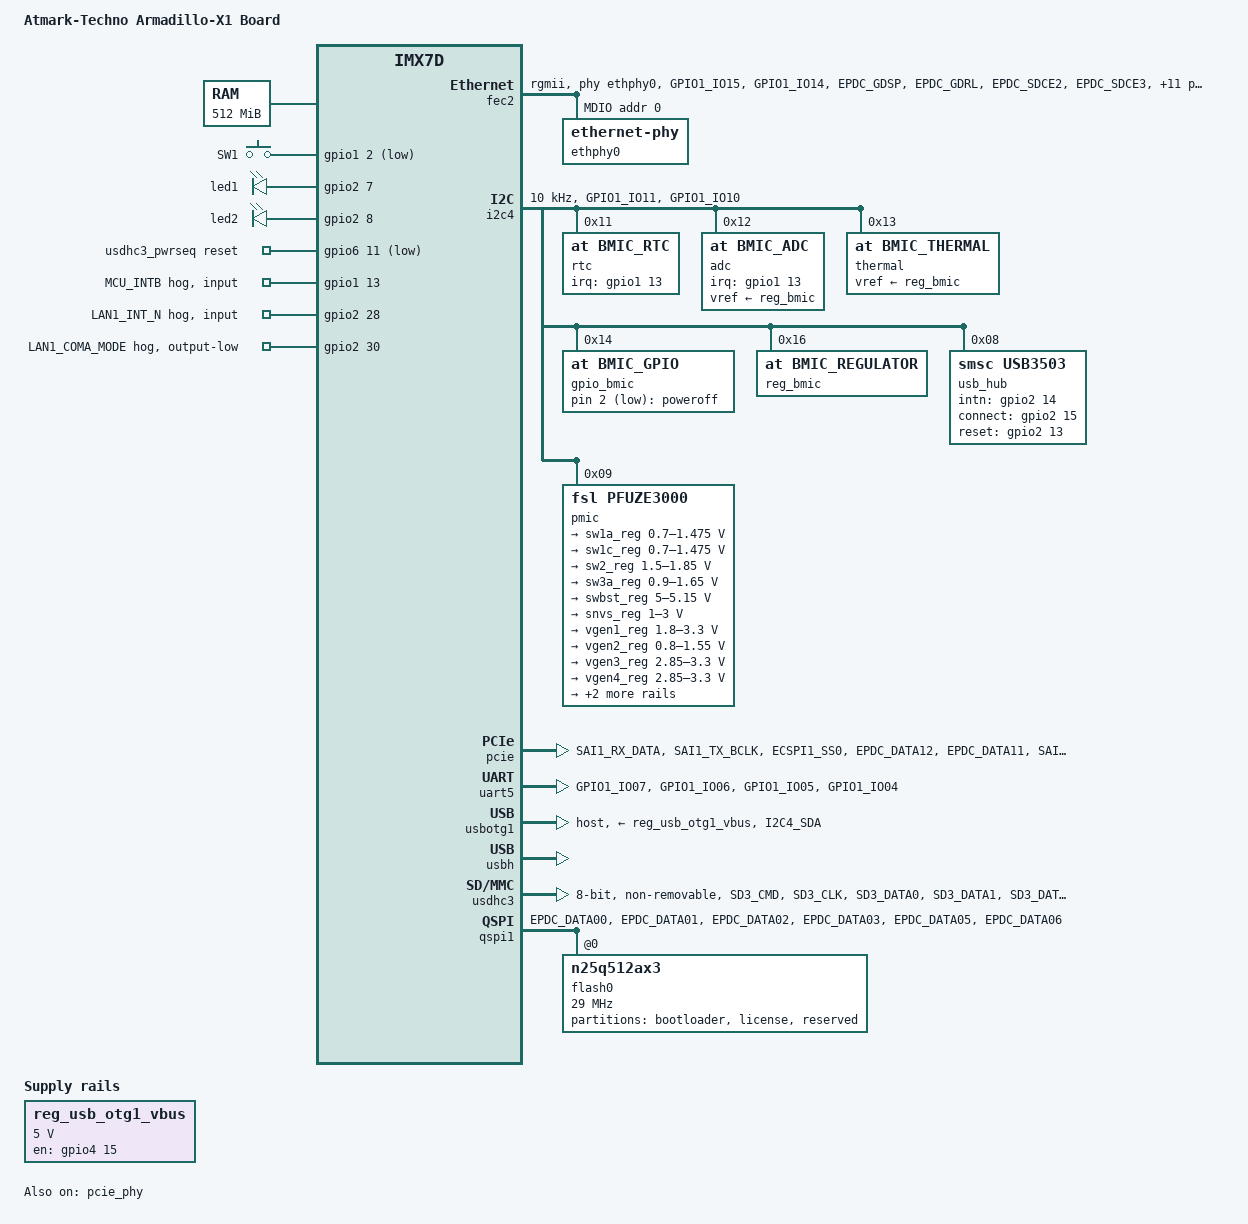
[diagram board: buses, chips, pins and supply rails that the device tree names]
/*
 * Copyright (C) 2018 Atmark Techno, Inc. All Rights Reserved.
 *
 * This file is dual-licensed: you can use it either under the terms
 * of the GPL or the X11 license, at your option. Note that this dual
 * licensing only applies to this file, and not this project as a
 * whole.
 *
 *  a) This file is free software; you can redistribute it and/or
 *     modify it under the terms of the GNU General Public License as
 *     published by the Free Software Foundation; either version 2 of the
 *     License, or (at your option) any later version.
 *
 *     This file is distributed in the hope that it will be useful,
 *     but WITHOUT ANY WARRANTY; without even the implied warranty of
 *     MERCHANTABILITY or FITNESS FOR A PARTICULAR PURPOSE.  See the
 *     GNU General Public License for more details.
 *
 * Or, alternatively,
 *
 *  b) Permission is hereby granted, free of charge, to any person
 *     obtaining a copy of this software and associated documentation
 *     files (the "Software"), to deal in the Software without
 *     restriction, including without limitation the rights to use,
 *     copy, modify, merge, publish, distribute, sublicense, and/or
 *     sell copies of the Software, and to permit persons to whom the
 *     Software is furnished to do so, subject to the following
 *     conditions:
 *
 *     The above copyright notice and this permission notice shall be
 *     included in all copies or substantial portions of the Software.
 *
 *     THE SOFTWARE IS PROVIDED "AS IS", WITHOUT WARRANTY OF ANY KIND,
 *     EXPRESS OR IMPLIED, INCLUDING BUT NOT LIMITED TO THE WARRANTIES
 *     OF MERCHANTABILITY, FITNESS FOR A PARTICULAR PURPOSE AND
 *     NONINFRINGEMENT. IN NO EVENT SHALL THE AUTHORS OR COPYRIGHT
 *     HOLDERS BE LIABLE FOR ANY CLAIM, DAMAGES OR OTHER LIABILITY,
 *     WHETHER IN AN ACTION OF CONTRACT, TORT OR OTHERWISE, ARISING
 *     FROM, OUT OF OR IN CONNECTION WITH THE SOFTWARE OR THE USE OR
 *     OTHER DEALINGS IN THE SOFTWARE.
 */

/dts-v1/;

#include "imx7d.dtsi"
#include "armadillo_x1_addon.dtsi"

/ {
	model = "Atmark-Techno Armadillo-X1 Board";
	compatible = "at,armadillo-x1", "fsl,imx7d";

	memory {
		reg = <0x80000000 0x20000000>;
	};

	regulators: regulators0 {
		compatible = "simple-bus";
		#address-cells = <1>;
		#size-cells = <0>;

		reg_usb_otg1_vbus: regulator@0 {
			compatible = "regulator-fixed";
			reg = <0>;
			regulator-name = "USB_OTG1_VBUS";
			regulator-min-microvolt = <5000000>;
			regulator-max-microvolt = <5000000>;
			gpio = <&gpio4 15 GPIO_ACTIVE_HIGH>;
			enable-active-high;
		};
	};

	gpio-keys {
		compatible = "gpio-keys";
		pinctrl-names = "default";
		pinctrl-0 = <&pinctrl_lpsr_gpio_keys>;

		sw1 {
			label = "SW1";
			gpios = <&gpio1 2 GPIO_ACTIVE_LOW>;
			linux,code = <KEY_1>;
		};
	};

	gpio-leds {
		compatible = "gpio-leds";
		pinctrl-names = "default";
		pinctrl-0 = <&pinctrl_gpio_leds>;

		LED1 {
			label = "led1";
			gpios = <&gpio2 7 GPIO_ACTIVE_HIGH>;
			linux,default-trigger = "default-on";
		};
		LED2 {
			label = "led2";
			gpios = <&gpio2 8 GPIO_ACTIVE_HIGH>;
			linux,default-trigger = "default-on";
		};
	};

	usdhc3_pwrseq: pwrseq@0 {
		compatible = "mmc-pwrseq-emmc";
		pinctrl-names = "default";
		pinctrl-0 = <&pinctrl_usdhc3_pwrseq>;
		reset-gpios = <&gpio6 11 GPIO_ACTIVE_LOW>;
	};

	poweroff {
		compatible = "gpio-poweroff";
		gpios = <&gpio_bmic 2 GPIO_ACTIVE_LOW>;
	};

	bcmdhd-configs {
		ccode = "JP"; /* country code from ISO 3166 */
	};
};

&cpu0 {
	arm-supply = <&sw1a_reg>;
};

&fec2 {
	pinctrl-names = "default";
	pinctrl-0 = <&pinctrl_enet2>;
	assigned-clocks = <&clks IMX7D_ENET2_TIME_ROOT_SRC>,
			  <&clks IMX7D_ENET2_TIME_ROOT_CLK>;
	assigned-clock-parents = <&clks IMX7D_PLL_ENET_MAIN_100M_CLK>;
	assigned-clock-rates = <0>, <100000000>;
	phy-mode = "rgmii";
	phy-handle = <&ethphy0>;
	fsl,magic-packet;
	fsl,mii-exclusive;
	no-mac-init;
	status = "okay";

	mdio {
		#address-cells = <1>;
		#size-cells = <0>;

		ethphy0: ethernet-phy@0 {
			reg = <0>;
		};
	};
};

&i2c4 {
	clock-frequency = <10000>;
	pinctrl-names = "default";
	pinctrl-0 = <&pinctrl_i2c4>;
	status = "okay";

	rtc: bmic_rtc@11 {
		compatible = "at,bmic_rtc";
		reg = <0x11>;
		irq-gpio = <&gpio1 13 GPIO_ACTIVE_HIGH>;
	};

	adc: bmic_adc@12 {
		compatible = "at,bmic_adc";
		reg = <0x12>;
		vref-supply = <&reg_bmic>;
		irq-gpio = <&gpio1 13 GPIO_ACTIVE_HIGH>;
	};

	thermal: bmic_thermal@13 {
		compatible = "at,bmic_thermal";
		reg = <0x13>;
		vref-supply = <&reg_bmic>;
	};

	gpio_bmic: bmic_gpio@14 {
		compatible = "at,bmic_gpio";
		reg = <0x14>;
		gpio-controller;
		#gpio-cells = <2>;
	};

	reg_bmic: bmic_regulator@16 {
		compatible = "at,bmic_regulator";
		reg = <0x16>;
		regulator-name = "BMIC_VREF";
		regulator-min-microvolt = <1710000>;
		regulator-max-microvolt = <3600000>;
		regulator-boot-on;
		regulator-always-on;
	};

	usb_hub: usb3503@08 {
		compatible = "smsc,usb3503";
		reg = <0x08>;

		clocks = <&clks IMX7D_CLKO2_ROOT_PRE_DIV>;
		clock-names = "refclk";

		refclk-frequency = <24000000>;
		intn-gpios = <&gpio2 14 GPIO_ACTIVE_HIGH>;
		connect-gpios = <&gpio2 15 GPIO_ACTIVE_HIGH>;
		reset-gpios = <&gpio2 13 GPIO_ACTIVE_HIGH>;
		initial-mode = <1>;	/* MODE_HUB */
	};

	pmic: pfuze3000@09 {
		compatible = "fsl,pfuze3000";
		reg = <0x09>;

		regulators {
			sw1a_reg: sw1a {
				regulator-min-microvolt = <700000>;
				regulator-max-microvolt = <1475000>;
				regulator-boot-on;
				regulator-always-on;
				regulator-ramp-delay = <6250>;
			};

			/* use sw1c_reg to align with pfuze100/pfuze200 */
			sw1c_reg: sw1b {
				regulator-min-microvolt = <700000>;
				regulator-max-microvolt = <1475000>;
				regulator-boot-on;
				regulator-always-on;
				regulator-ramp-delay = <6250>;
			};

			sw2_reg: sw2 {
				regulator-min-microvolt = <1500000>;
				regulator-max-microvolt = <1850000>;
				regulator-boot-on;
				regulator-always-on;
			};

			sw3a_reg: sw3 {
				regulator-min-microvolt = <900000>;
				regulator-max-microvolt = <1650000>;
				regulator-boot-on;
				regulator-always-on;
			};

			swbst_reg: swbst {
				regulator-min-microvolt = <5000000>;
				regulator-max-microvolt = <5150000>;
			};

			snvs_reg: vsnvs {
				regulator-min-microvolt = <1000000>;
				regulator-max-microvolt = <3000000>;
				regulator-boot-on;
				regulator-always-on;
			};

			vref_reg: vrefddr {
				regulator-boot-on;
				regulator-always-on;
			};

			vgen1_reg: vldo1 {
				regulator-min-microvolt = <1800000>;
				regulator-max-microvolt = <3300000>;
				regulator-always-on;
			};

			vgen2_reg: vldo2 {
				regulator-min-microvolt = <800000>;
				regulator-max-microvolt = <1550000>;
			};

			vgen3_reg: vccsd {
				regulator-min-microvolt = <2850000>;
				regulator-max-microvolt = <3300000>;
				regulator-always-on;
			};

			vgen4_reg: v33 {
				regulator-min-microvolt = <2850000>;
				regulator-max-microvolt = <3300000>;
				regulator-always-on;
			};

			vgen5_reg: vldo3 {
				regulator-min-microvolt = <1800000>;
				regulator-max-microvolt = <3300000>;
				regulator-always-on;
			};

			vgen6_reg: vldo4 {
				regulator-min-microvolt = <1800000>;
				regulator-max-microvolt = <3300000>;
				regulator-always-on;
			};
		};
	};
};

&iomuxc {
	pinctrl-names = "default";
	pinctrl-0 = <&pinctrl_hog>;

	armadillo-iotg-g3 {
		pinctrl_hog: hoggrp {
			fsl,pins = <
				/* USB3503 */
				MX7D_PAD_EPDC_DATA13__GPIO2_IO13	0x00 /* GPIO_USB_HUB_RESET_N */
				MX7D_PAD_EPDC_DATA14__GPIO2_IO14	0x04 /* GPIO_USB_HUB_INT_N */
				MX7D_PAD_EPDC_DATA15__GPIO2_IO15	0x00 /* GPIO_USB_HUB_CON */

				/* MCU */
				MX7D_PAD_GPIO1_IO13__GPIO1_IO13		0x40000000 /* MCU_INTB */
			>;
		};

		pinctrl_enet2: enet2grp {
			fsl,pins = <
				MX7D_PAD_GPIO1_IO15__ENET2_MDC		0x0
				MX7D_PAD_GPIO1_IO14__ENET2_MDIO		0x0

				MX7D_PAD_EPDC_GDSP__ENET2_RGMII_TXC		0x1
				MX7D_PAD_EPDC_GDRL__ENET2_RGMII_TX_CTL		0x1
				MX7D_PAD_EPDC_SDCE2__ENET2_RGMII_TD0		0x1
				MX7D_PAD_EPDC_SDCE3__ENET2_RGMII_TD1		0x1
				MX7D_PAD_EPDC_GDCLK__ENET2_RGMII_TD2		0x1
				MX7D_PAD_EPDC_GDOE__ENET2_RGMII_TD3		0x1

				MX7D_PAD_EPDC_SDCE1__ENET2_RGMII_RXC		0x1
				MX7D_PAD_EPDC_SDCE0__ENET2_RGMII_RX_CTL		0x1
				MX7D_PAD_EPDC_SDCLK__ENET2_RGMII_RD0		0x1
				MX7D_PAD_EPDC_SDLE__ENET2_RGMII_RD1		0x1
				MX7D_PAD_EPDC_SDOE__ENET2_RGMII_RD2		0x1
				MX7D_PAD_EPDC_SDSHR__ENET2_RGMII_RD3		0x1
				MX7D_PAD_EPDC_BDR1__GPIO2_IO29 0x00 /* GPIO_LAN1_RST_N */
				MX7D_PAD_EPDC_BDR0__GPIO2_IO28 0x00 /* GPIO_LAN1_INT_N */
				MX7D_PAD_EPDC_PWR_COM__GPIO2_IO30 0x00 /* GPIO_LAN1_COMA_MODE */
			>;
		};

		pinctrl_usbotg1: usbotg1grp {
			fsl,pins = <
				MX7D_PAD_I2C4_SDA__GPIO4_IO15 0x00
			>;
		};

		pinctrl_usdhc3: usdhc3grp {
			fsl,pins = <
				MX7D_PAD_SD3_CMD__SD3_CMD	0x0a
				MX7D_PAD_SD3_CLK__SD3_CLK	0x0a
				MX7D_PAD_SD3_DATA0__SD3_DATA0	0x0a
				MX7D_PAD_SD3_DATA1__SD3_DATA1	0x0a
				MX7D_PAD_SD3_DATA2__SD3_DATA2	0x0a
				MX7D_PAD_SD3_DATA3__SD3_DATA3	0x0a
				MX7D_PAD_SD3_DATA4__SD3_DATA4	0x0a
				MX7D_PAD_SD3_DATA5__SD3_DATA5	0x0a
				MX7D_PAD_SD3_DATA6__SD3_DATA6	0x0a
				MX7D_PAD_SD3_DATA7__SD3_DATA7	0x0a
				MX7D_PAD_SD3_STROBE__SD3_STROBE	0x0a
			>;
		};

		pinctrl_usdhc3_pwrseq: pwrseq-usdhc3grp {
			fsl,pins = <
				MX7D_PAD_SD3_RESET_B__GPIO6_IO11	0x4000000a
			>;
		};

		pinctrl_qspi1: qspi1grp {
			fsl,pins = <
				MX7D_PAD_EPDC_DATA00__QSPI_A_DATA0	0x51
				MX7D_PAD_EPDC_DATA01__QSPI_A_DATA1	0x51
				MX7D_PAD_EPDC_DATA02__QSPI_A_DATA2	0x51
				MX7D_PAD_EPDC_DATA03__QSPI_A_DATA3	0x51
				MX7D_PAD_EPDC_DATA05__QSPI_A_SCLK	0x51
				MX7D_PAD_EPDC_DATA06__QSPI_A_SS0_B	0x51
			>;
		};

		pinctrl_gpio_leds: gpio_ledsgrp {
			fsl,pins = <
				MX7D_PAD_EPDC_DATA07__GPIO2_IO7	0x00 /* LED1 */
				MX7D_PAD_EPDC_DATA08__GPIO2_IO8	0x00 /* LED2 */
			>;
		};

		pinctrl_i2c4: i2c4grp {
			fsl,pins = <
				MX7D_PAD_GPIO1_IO11__I2C4_SDA	0x4000007f
				MX7D_PAD_GPIO1_IO10__I2C4_SCL	0x4000007f
			>;
		};

		pinctrl_pcie: pciegrp {
			fsl,pins = <
				MX7D_PAD_SAI1_RX_DATA__GPIO6_IO12	0x00 /* PCI_WLAN_RESET# */
				MX7D_PAD_SAI1_TX_BCLK__GPIO6_IO13	0x14 /* PCI_WLAN_DISABLE# */
				MX7D_PAD_ECSPI1_SS0__GPIO4_IO19		0x00 /* GPIO_PCIE_PWREN */
				MX7D_PAD_EPDC_DATA12__GPIO2_IO12	0x00 /* G_PCIE_CLKREQ# */
				MX7D_PAD_EPDC_DATA11__GPIO2_IO11	0x10 /* G_PCIE_COEX2 */
				MX7D_PAD_SAI1_TX_DATA__GPIO6_IO15	0x10 /* G_PCIE_COEX1 */
				MX7D_PAD_SAI1_TX_SYNC__GPIO6_IO14	0x00 /* G_PCIE_WAKE# */
				MX7D_PAD_EPDC_DATA10__GPIO2_IO10	0x10 /* G_PCIE_SMB_DATA */
				MX7D_PAD_EPDC_DATA09__GPIO2_IO9		0x10 /* G_PCIE_SMB_CLK */
			>;
		};
	};
};

&iomuxc_lpsr {
	pinctrl-names = "default";
	pinctrl-0 = <&pinctrl_hog_2>;

	armadillo-iotg-g3 {
		pinctrl_hog_2: hoggrp-2 {
			fsl,pins = <
				MX7D_PAD_GPIO1_IO00__WDOD1_WDOG_B	0x74
				MX7D_PAD_GPIO1_IO03__CCM_CLKO2		0x0a /* USB_HUB_REFCLK */
			>;
		};

		pinctrl_lpsr_uart5: lpsr_uart5grp {
			fsl,pins = <
				MX7D_PAD_GPIO1_IO07__UART5_DCE_TX	0x00
				MX7D_PAD_GPIO1_IO06__UART5_DCE_RX	0x79
				MX7D_PAD_GPIO1_IO05__UART5_DCE_RTS	0x79
				MX7D_PAD_GPIO1_IO04__UART5_DCE_CTS	0x00
			>;
		};

		pinctrl_lpsr_gpio_keys: lpsr_gpio_keysgrp {
			fsl,pins = <
				MX7D_PAD_GPIO1_IO02__GPIO1_IO2	0x00 /* SW1 */
			>;
		};
	};
};

&pcie_phy{
	status = "okay";
};

&pcie {
	pinctrl-names = "default";
	pinctrl-0 = <&pinctrl_pcie>;

	reset-gpio = <&gpio6 12 GPIO_ACTIVE_LOW>;
	disable-gpio = <&gpio6 13 GPIO_ACTIVE_LOW>;
	disable-gpio-open-drain;
	power-on-gpio = <&gpio4 19 GPIO_ACTIVE_HIGH>;
	clkreq-gpio = <&gpio2 12 GPIO_ACTIVE_HIGH>;
	wake-gpio = <&gpio6 14 GPIO_ACTIVE_HIGH>;
	status = "okay";
};

&uart5 {
	pinctrl-names = "default";
	pinctrl-0 = <&pinctrl_lpsr_uart5>;
	assigned-clocks = <&clks IMX7D_UART5_ROOT_SRC>;
	assigned-clock-parents = <&clks IMX7D_PLL_SYS_MAIN_240M_CLK>;
	status = "okay";
};

&usbotg1 {
	pinctrl-names = "default";
	pinctrl-0 = <&pinctrl_usbotg1>;
	vbus-supply = <&reg_usb_otg1_vbus>;
	dr_mode = "host";
	status = "okay";
};

&usbh {
	status = "okay";
};

&usdhc3 {
	pinctrl-names = "default";
	pinctrl-0 = <&pinctrl_usdhc3>;
	assigned-clocks = <&clks IMX7D_USDHC3_ROOT_CLK>;
	assigned-clock-rates = <400000000>;
	bus-width = <8>;
	fsl,tuning-step = <2>;
	non-removable;
	mmc-pwrseq = <&usdhc3_pwrseq>;
	status = "okay";
};

&qspi1 {
	pinctrl-names = "default";
	pinctrl-0 = <&pinctrl_qspi1>;
	status = "okay";
	ddrsmp=<0>;

	flash0: n25q512ax3@0 {
		#address-cells = <1>;
		#size-cells = <1>;
		compatible = "n25q512ax3";
		spi-max-frequency = <29000000>;

		partition@0 {
			label = "bootloader";
			reg = <0x00000000 0x00100000>;
		};
		partition@1 {
			label = "license";
			reg = <0x00100000 0x00040000>;
		};
		partition@2 {
			label = "reserved";
			reg = <0x00140000 0x03ec0000>;
		};
	};
};

&wdog1 {
	timeout-sec = <10>;
	fsl,ext-reset-output;
};

&gpio1 {
	mcu_intb {
		gpio-hog;
		gpios = <13 GPIO_ACTIVE_HIGH>;
		input;
		line-name = "MCU_INTB";
	};
};

&gpio2 {
	lan1_int_n {
		gpio-hog;
		gpios = <28 GPIO_ACTIVE_HIGH>;
		input;
		line-name = "LAN1_INT_N";
	};

	lan1_coma_mode {
		gpio-hog;
		gpios = <30 GPIO_ACTIVE_HIGH>;
		output-low;
		line-name = "LAN1_COMA_MODE";
	};
};
